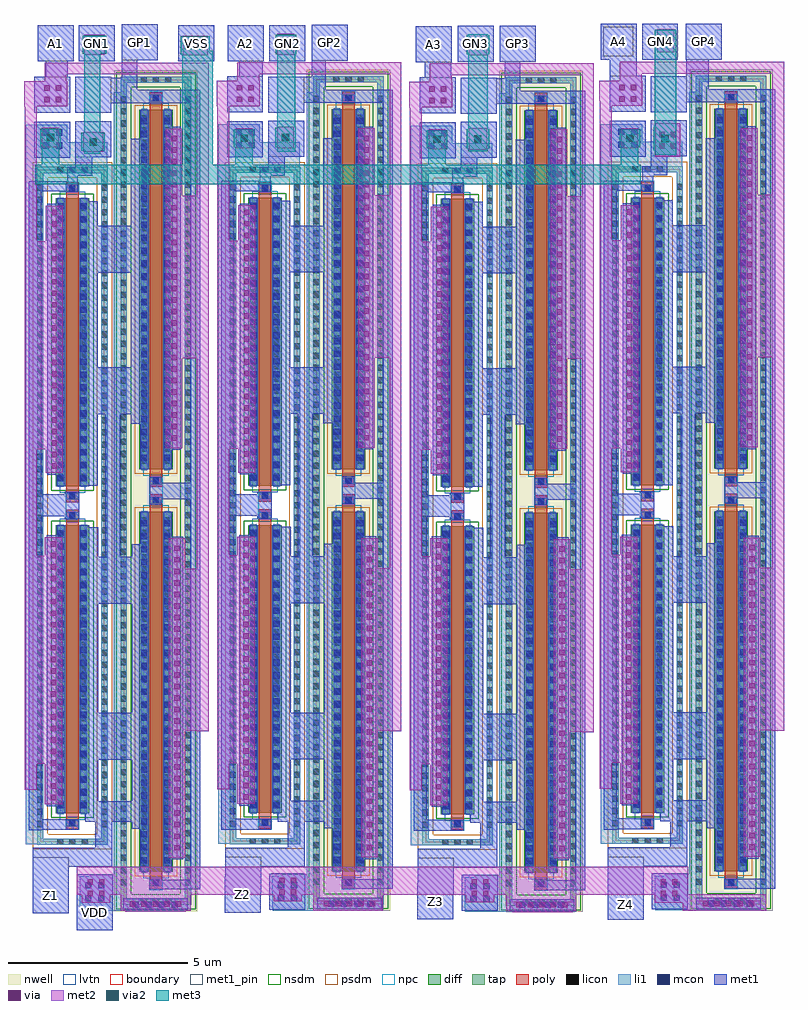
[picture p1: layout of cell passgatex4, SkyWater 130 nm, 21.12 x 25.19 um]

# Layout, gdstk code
from math import pi, radians
import gdstk
lib = gdstk.Library(unit=1e-6, precision=1e-09)
def R(c, l, rs):  # rectangles x0, y0, x1, y1
    for r in rs: c.add(gdstk.rectangle(r[:2], r[2:], *l))
def A(c, l, x, y, w, h, nx, ny, dx, dy):  # array of equal rectangles
    R(c, l, [(x+i*dx, y+j*dy, x+i*dx+w, y+j*dy+h) for i in range(nx) for j in range(ny)])
nwell = (64, 20)
diff = (65, 20)
tap = (65, 44)
poly = (66, 20)
licon = (66, 44)
li1 = (67, 20)
mcon = (67, 44)
met1_pin = (68, 16)
met1 = (68, 20)
via = (68, 44)
met2 = (69, 20)
via2 = (69, 44)
met3 = (70, 20)
nsdm = (93, 44)
psdm = (94, 20)
npc = (95, 20)
lvtn = (125, 44)
boundary = (235, 4)

sky130_fd_pr__pfet_01v8_ = lib.new_cell('sky130_fd_pr__pfet_01v8_lvt_4QFMR3')
R(sky130_fd_pr__pfet_01v8_, nwell, [(-1.155,-11.685,1.155,11.685)])
R(sky130_fd_pr__pfet_01v8_, diff, [(-0.465,-10.59,0.465,-0.59), (-0.465,0.59,0.465,10.59)])
R(sky130_fd_pr__pfet_01v8_, tap, [(-0.975,-11.505,0.975,-11.335), (-0.975,-11.335,-0.805,11.335), (0.805,-11.335,0.975,11.335), (-0.975,11.335,0.975,11.505)])
R(sky130_fd_pr__pfet_01v8_, poly, [(-0.175,-11.075,0.175,-0.105), (-0.175,0.105,0.175,11.075)])
A(sky130_fd_pr__pfet_01v8_, licon, -0.425, -11.505, 0.17, 0.17, 3, 2, 0.34, 22.84)
A(sky130_fd_pr__pfet_01v8_, licon, -0.975, -10.965, 0.17, 0.17, 1, 65, 0, 0.34)
A(sky130_fd_pr__pfet_01v8_, licon, 0.805, -10.965, 0.17, 0.17, 1, 65, 0, 0.34)
A(sky130_fd_pr__pfet_01v8_, licon, -0.405, -10.435, 0.17, 0.17, 1, 29, 0, 0.34)
A(sky130_fd_pr__pfet_01v8_, licon, 0.235, -10.435, 0.17, 0.17, 1, 29, 0, 0.34)
A(sky130_fd_pr__pfet_01v8_, licon, -0.405, 0.745, 0.17, 0.17, 1, 29, 0, 0.34)
A(sky130_fd_pr__pfet_01v8_, licon, 0.235, 0.745, 0.17, 0.17, 1, 29, 0, 0.34)
R(sky130_fd_pr__pfet_01v8_, licon, [(-0.085,-10.995,0.085,-10.825), (-0.085,-0.355,0.085,-0.185), (-0.085,0.185,0.085,0.355), (-0.085,10.825,0.085,10.995)])
R(sky130_fd_pr__pfet_01v8_, li1, [(-0.975,-11.505,0.975,-11.335), (-0.975,-11.335,-0.805,11.335), (0.805,-11.335,0.975,11.335), (-0.175,-10.995,0.175,-10.825), (-0.405,-10.61,-0.235,-0.57), (0.235,-10.61,0.405,-0.57), (-0.175,-0.355,0.175,-0.185), (-0.175,0.185,0.175,0.355), (-0.405,0.57,-0.235,10.61), (0.235,0.57,0.405,10.61), (-0.175,10.825,0.175,10.995), (-0.975,11.335,0.975,11.505)])
A(sky130_fd_pr__pfet_01v8_, mcon, -0.405, -10.355, 0.17, 0.17, 1, 27, 0, 0.36)
A(sky130_fd_pr__pfet_01v8_, mcon, 0.235, -10.355, 0.17, 0.17, 1, 27, 0, 0.36)
A(sky130_fd_pr__pfet_01v8_, mcon, -0.405, 0.825, 0.17, 0.17, 1, 27, 0, 0.36)
A(sky130_fd_pr__pfet_01v8_, mcon, 0.235, 0.825, 0.17, 0.17, 1, 27, 0, 0.36)
R(sky130_fd_pr__pfet_01v8_, mcon, [(-0.085,-10.995,0.085,-10.825), (-0.085,-0.355,0.085,-0.185), (-0.085,0.185,0.085,0.355), (-0.085,10.825,0.085,10.995)])
R(sky130_fd_pr__pfet_01v8_, met1, [(-0.155,-11.025,0.155,-10.795), (-0.435,-10.59,-0.205,-0.59), (0.205,-10.59,0.435,-0.59), (-0.155,-0.385,0.155,-0.155), (-0.155,0.155,0.155,0.385), (-0.435,0.59,-0.205,10.59), (0.205,0.59,0.435,10.59), (-0.155,10.795,0.155,11.025)])
R(sky130_fd_pr__pfet_01v8_, nsdm, [(-1.1,-11.63,1.1,-11.21), (-1.1,-11.21,-0.68,11.21), (0.68,-11.21,1.1,11.21), (-1.1,11.21,1.1,11.63)])
R(sky130_fd_pr__pfet_01v8_, psdm, [(-0.59,-10.715,0.59,-0.465), (-0.59,0.465,0.59,10.715)])
R(sky130_fd_pr__pfet_01v8_, npc, [(-0.185,-11.095,0.185,-10.725), (-0.185,-0.455,0.185,0.455), (-0.185,10.725,0.185,11.095)])
R(sky130_fd_pr__pfet_01v8_, lvtn, [(-0.355,-10.77,0.355,-0.41), (-0.355,0.41,0.355,10.77)])
R(sky130_fd_pr__pfet_01v8_, boundary, [(-0.89,-11.42,0.89,11.42)])

sky130_fd_pr__nfet_01v8_ = lib.new_cell('sky130_fd_pr__nfet_01v8_lvt_PEJ72P')
R(sky130_fd_pr__nfet_01v8_, diff, [(-0.465,-8.545,0.465,-0.545), (-0.465,0.545,0.465,8.545)])
R(sky130_fd_pr__nfet_01v8_, tap, [(-0.975,-9.415,0.975,-9.245), (-0.975,-9.245,-0.805,9.245), (0.805,-9.245,0.975,9.245), (-0.975,9.245,0.975,9.415)])
R(sky130_fd_pr__nfet_01v8_, poly, [(-0.175,-8.985,0.175,-0.105), (-0.175,0.105,0.175,8.985)])
A(sky130_fd_pr__nfet_01v8_, licon, -0.425, -9.415, 0.17, 0.17, 3, 2, 0.34, 18.66)
A(sky130_fd_pr__nfet_01v8_, licon, -0.975, -8.925, 0.17, 0.17, 1, 53, 0, 0.34)
A(sky130_fd_pr__nfet_01v8_, licon, 0.805, -8.925, 0.17, 0.17, 1, 53, 0, 0.34)
A(sky130_fd_pr__nfet_01v8_, licon, -0.405, -8.37, 0.17, 0.17, 1, 23, 0, 0.34)
A(sky130_fd_pr__nfet_01v8_, licon, 0.235, -8.37, 0.17, 0.17, 1, 23, 0, 0.34)
A(sky130_fd_pr__nfet_01v8_, licon, -0.405, 0.72, 0.17, 0.17, 1, 23, 0, 0.34)
A(sky130_fd_pr__nfet_01v8_, licon, 0.235, 0.72, 0.17, 0.17, 1, 23, 0, 0.34)
R(sky130_fd_pr__nfet_01v8_, licon, [(-0.085,-8.905,0.085,-8.735), (-0.085,-0.355,0.085,-0.185), (-0.085,0.185,0.085,0.355), (-0.085,8.735,0.085,8.905)])
R(sky130_fd_pr__nfet_01v8_, li1, [(-0.975,-9.415,0.975,-9.245), (-0.975,-9.245,-0.805,9.245), (0.805,-9.245,0.975,9.245), (-0.175,-8.905,0.175,-8.735), (-0.405,-8.565,-0.235,-0.525), (0.235,-8.565,0.405,-0.525), (-0.175,-0.355,0.175,-0.185), (-0.175,0.185,0.175,0.355), (-0.405,0.525,-0.235,8.565), (0.235,0.525,0.405,8.565), (-0.175,8.735,0.175,8.905), (-0.975,9.245,0.975,9.415)])
A(sky130_fd_pr__nfet_01v8_, mcon, -0.405, -8.41, 0.17, 0.17, 1, 22, 0, 0.36)
A(sky130_fd_pr__nfet_01v8_, mcon, 0.235, -8.41, 0.17, 0.17, 1, 22, 0, 0.36)
A(sky130_fd_pr__nfet_01v8_, mcon, -0.405, 0.68, 0.17, 0.17, 1, 22, 0, 0.36)
A(sky130_fd_pr__nfet_01v8_, mcon, 0.235, 0.68, 0.17, 0.17, 1, 22, 0, 0.36)
R(sky130_fd_pr__nfet_01v8_, mcon, [(-0.085,-8.905,0.085,-8.735), (-0.085,-0.355,0.085,-0.185), (-0.085,0.185,0.085,0.355), (-0.085,8.735,0.085,8.905)])
R(sky130_fd_pr__nfet_01v8_, met1, [(-0.155,-8.935,0.155,-8.705), (-0.435,-8.545,-0.205,-0.545), (0.205,-8.545,0.435,-0.545), (-0.155,-0.385,0.155,-0.155), (-0.155,0.155,0.155,0.385), (-0.435,0.545,-0.205,8.545), (0.205,0.545,0.435,8.545), (-0.155,8.705,0.155,8.935)])
R(sky130_fd_pr__nfet_01v8_, nsdm, [(-0.59,-8.67,0.59,-0.42), (-0.59,0.42,0.59,8.67)])
R(sky130_fd_pr__nfet_01v8_, psdm, [(-1.1,-9.54,1.1,-9.12), (-1.1,-9.12,-0.68,9.12), (0.68,-9.12,1.1,9.12), (-1.1,9.12,1.1,9.54)])
R(sky130_fd_pr__nfet_01v8_, npc, [(-0.185,-9.005,0.185,-8.635), (-0.185,-0.455,0.185,0.455), (-0.185,8.635,0.185,9.005)])
R(sky130_fd_pr__nfet_01v8_, lvtn, [(-0.355,-8.725,0.355,-0.365), (-0.355,0.365,0.355,8.725)])
R(sky130_fd_pr__nfet_01v8_, boundary, [(-0.89,-9.33,0.89,9.33)])

passgate = lib.new_cell('passgate')
R(passgate, li1, [(18.51,-4.4,38.5,-3.96), (18.51,-3.96,19.85,-3.25), (19,-3.25,19.85,-2.14), (39.39,-2.9,40.25,-2.89), (39.39,-2.89,40.35,-2.63), (39.34,-2.63,40.35,-1.95), (17.61,-1.95,40.35,-1.6), (39.34,-1.6,40.35,-1.59), (40.01,-1.59,40.35,0.18)])
R(passgate, mcon, [(18.64,-3.92,18.81,-3.75), (19,-3.92,19.17,-3.75), (18.64,-3.56,18.81,-3.39), (19,-3.56,19.17,-3.39), (39.555,-2.745,39.725,-2.575), (39.915,-2.745,40.085,-2.575), (39.555,-2.385,39.725,-2.215), (39.915,-2.385,40.085,-2.215)])
R(passgate, met1_pin, [(38.86,-4.21,39.86,-3.21), (17.17,-4.16,18.17,-3.16), (18.42,-4.16,19.42,-3.16), (17.18,-3.02,18.18,-2.02), (18.41,-3.02,19.41,-2.02), (39.33,-2.99,40.33,-1.99)])
R(passgate, met1, [(20.08,-4.32,38.11,-3.96), (38.6,-4.21,39.86,-3.21), (17.17,-4.16,18.17,-3.16), (18.42,-4.16,19.42,-3.16), (20.08,-3.96,20.36,-3.25), (28.78,-3.96,29.38,-3.32), (37.8,-3.96,38.1,-2.93), (29.92,-3.82,37.44,-3.44), (20.71,-3.8,28.23,-3.42), (29.93,-3.44,37.35,-3.34), (20.76,-3.42,28.18,-3.33), (28.71,-3.32,29.45,-2.92), (19.68,-3.25,20.39,-3.02), (38.6,-3.21,39.13,-2.47), (17.18,-3.02,18.18,-2.02), (18.41,-3.02,20.39,-2.95), (39.33,-2.99,40.33,-1.99), (18.41,-2.95,19.93,-2.56), (20.63,-2.86,28.54,-2.4), (29.69,-2.85,37.6,-2.75), (29.69,-2.75,37.88,-2.47), (18.41,-2.56,19.41,-2.02), (29.69,-2.47,39.13,-2.39), (21.32,-2.4,22.62,-1.49), (25.25,-2.4,26.55,-2.19), (30.51,-2.39,31.81,-2.19), (34.85,-2.39,36.15,-1.46), (37.3,-2.39,39.13,-2), (25.25,-2.19,31.81,-1.78), (17.54,-2.02,17.91,0.17), (37.3,-2,37.88,-1.46), (25.25,-1.78,26.55,-1.49), (30.51,-1.78,31.81,-1.46), (18.9,-1.49,26.81,-1.03), (30.16,-1.46,38.07,-1), (39.48,-0.97,39.75,0.17), (28.31,-0.96,29.04,-0.63), (28.46,-0.63,28.91,0.17), (18.62,-0.56,27.49,-0.46), (29.98,-0.53,38.85,-0.38), (18.57,-0.46,27.54,-0.1), (29.95,-0.38,38.92,-0.02), (17.54,0.17,39.75,0.44)])
A(passgate, via, 30.085, -3.705, 0.15, 0.15, 23, 1, 0.32, 0)
A(passgate, via, 20.875, -3.685, 0.15, 0.15, 23, 1, 0.32, 0)
A(passgate, via, 18.82, -0.355, 0.15, 0.15, 27, 1, 0.32, 0)
A(passgate, via, 30.2, -0.275, 0.15, 0.15, 27, 1, 0.32, 0)
R(passgate, via, [(17.415,-3.89,17.565,-3.74), (17.735,-3.89,17.885,-3.74), (17.415,-3.57,17.565,-3.42), (17.735,-3.57,17.885,-3.42)])
R(passgate, met2, [(17.3,-4.45,17.85,-4.44), (17.3,-4.44,18,-4.43), (17.3,-4.43,36.98,-4.1), (17.3,-4.1,18,-3.88), (21.74,-4.1,27.52,-3.85), (30.48,-4.1,36.26,-3.87), (16.79,-3.88,18,-3.86), (29.97,-3.87,37.39,-3.39), (16.78,-3.86,18,-3.27), (20.76,-3.85,28.18,-3.37), (16.78,-3.27,17.11,0.355), (17.3,-3.27,18,-3.25), (18.62,-0.51,27.49,-0.05), (30,-0.43,38.87,0.03), (20.48,-0.05,24.99,0.355), (30.84,0.03,35.35,0.355), (16.78,0.355,35.365,0.685)])
passgate.add(gdstk.Reference(sky130_fd_pr__pfet_01v8_, (28.675,-0.785), rotation=pi/2))
passgate.add(gdstk.Reference(sky130_fd_pr__nfet_01v8_, (29.095,-3.105), rotation=pi/2))
passgate.add(gdstk.Label('A', (17.67,-3.66), layer=68, texttype=5))
passgate.add(gdstk.Label('GN', (18.91,-2.52), layer=68, texttype=5))
passgate.add(gdstk.Label('GP', (17.68,-2.52), layer=68, texttype=5))
passgate.add(gdstk.Label('Z', (39.36,-3.71), layer=68, texttype=5))
passgate.add(gdstk.Label('VDD', (39.83,-2.49), layer=68, texttype=5))
passgate.add(gdstk.Label('VSS', (18.92,-3.66), layer=68, texttype=5))

passgatex4 = lib.new_cell('passgatex4')
R(passgatex4, li1, [(59.81,-1.18,61.15,-0.95), (70.54,-1.18,71.88,-0.95), (65.24,-1.16,66.58,-0.93), (75.78,-1.15,77.12,-0.92)])
A(passgatex4, mcon, 59.855, -1.15, 0.17, 0.17, 4, 1, 0.36, 0)
A(passgatex4, mcon, 70.585, -1.15, 0.17, 0.17, 4, 1, 0.36, 0)
A(passgatex4, mcon, 65.285, -1.13, 0.17, 0.17, 4, 1, 0.36, 0)
A(passgatex4, mcon, 75.825, -1.12, 0.17, 0.17, 4, 1, 0.36, 0)
R(passgatex4, met1_pin, [(58.29,-1.78,59.29,-0.78), (73.05,-1.48,74.05,-0.65), (67.76,-1.47,68.76,-0.47), (57.07,-1.31,58.07,-0.31), (62.41,-1.29,63.41,-0.29), (67.71,22.34,68.71,23.34), (68.88,22.35,69.88,23.35), (70.05,22.35,71.05,23.35), (62.49,22.36,63.49,23.36), (57.21,22.37,58.21,23.37), (58.35,22.37,59.35,23.37), (61.12,22.37,62.12,23.37), (63.65,22.37,64.65,23.37), (64.82,22.38,65.82,23.38), (59.54,22.39,60.54,23.39), (74,22.41,75,23.41), (75.22,22.41,76.22,23.41), (72.93,22.51,73.76,23.32)])
R(passgatex4, met1, [(58.29,-1.78,59.29,-0.78), (73.05,-1.48,74.05,-0.65), (67.76,-1.47,68.76,-0.47), (57.07,-1.31,58.07,-0.31), (62.41,-1.29,63.41,-0.29), (70.33,-1.23,72.12,-0.91), (59.59,-1.21,61.38,-0.89), (64.98,-1.19,66.77,-0.87), (75.51,-1.19,77.3,-0.87), (74.31,-0.96,75.19,-0.24), (69.06,-0.95,69.94,-0.23), (63.72,-0.92,64.6,-0.2), (58.39,-0.78,59.27,-0.24), (74.32,19.76,75.11,20.59), (58.42,19.9,59.08,20.35), (69.13,19.96,69.75,20.45), (68.02,19.97,68.59,20.42), (62.66,20,63.23,20.45), (63.81,20,64.38,20.49), (73.38,20,73.95,20.45), (57.28,20.02,57.85,20.47), (73.1,20.97,73.86,22.41), (67.97,21.07,68.7,22.34), (62.81,21.1,63.47,22.36), (57.44,21.11,58.05,22.37), (70.18,21.19,70.62,21.27), (59.55,21.23,59.98,21.57), (64.82,21.23,65.21,21.55), (75.23,21.23,75.85,22.41), (69.78,21.27,70.62,21.9), (64.5,21.55,65.21,21.94), (59.12,21.57,59.98,21.91), (70.18,21.9,70.62,22.35), (59.55,21.91,59.98,22.39), (64.82,21.94,65.21,22.38), (67.71,22.34,68.71,23.34), (68.88,22.35,69.88,23.35), (70.05,22.35,71.05,23.35), (62.49,22.36,63.49,23.36), (57.21,22.37,58.21,23.37), (58.35,22.37,59.35,23.37), (61.12,22.37,62.12,23.37), (63.65,22.37,64.65,23.37), (64.82,22.38,65.82,23.38), (59.54,22.39,60.54,23.39), (72.86,22.41,73.86,23.41), (74,22.41,75,23.41), (75.22,22.41,76.22,23.41)])
A(passgatex4, via, 70.51, -1.145, 0.15, 0.15, 5, 1, 0.32, 0)
A(passgatex4, via, 59.77, -1.125, 0.15, 0.15, 5, 1, 0.32, 0)
A(passgatex4, via, 65.16, -1.105, 0.15, 0.15, 5, 1, 0.32, 0)
A(passgatex4, via, 75.69, -1.105, 0.15, 0.15, 5, 1, 0.32, 0)
R(passgatex4, via, [(58.595,-0.835,58.745,-0.685), (58.915,-0.835,59.065,-0.685), (74.515,-0.835,74.665,-0.685), (74.835,-0.835,74.985,-0.685), (69.265,-0.825,69.415,-0.675), (69.585,-0.825,69.735,-0.675), (63.925,-0.795,64.075,-0.645), (64.245,-0.795,64.395,-0.645), (58.595,-0.515,58.745,-0.365), (58.915,-0.515,59.065,-0.365), (74.515,-0.515,74.665,-0.365), (74.835,-0.515,74.985,-0.365), (69.265,-0.505,69.415,-0.355), (69.585,-0.505,69.735,-0.355), (63.925,-0.475,64.075,-0.325), (64.245,-0.475,64.395,-0.325), (74.48,19.94,74.63,20.09), (74.8,19.94,74.95,20.09), (58.675,20.05,58.825,20.2), (68.23,20.12,68.38,20.27), (69.365,20.13,69.515,20.28), (62.87,20.15,63.02,20.3), (73.59,20.15,73.74,20.3), (57.49,20.17,57.64,20.32), (64.02,20.17,64.17,20.32), (74.48,20.26,74.63,20.41), (74.8,20.26,74.95,20.41), (61.355,22.73,61.505,22.88), (61.675,22.73,61.825,22.88), (58.715,22.75,58.865,22.9), (69.365,22.75,69.515,22.9), (64.03,22.76,64.18,22.91), (74.58,22.86,74.73,23.01)])
R(passgatex4, met2, [(70.38,-1.28,72.07,-1.25), (59.64,-1.26,61.33,-1.23), (70.23,-1.25,72.17,-0.79), (65.03,-1.24,66.72,-1.23), (75.56,-1.24,77.25,-1.23), (59.52,-1.23,61.46,-0.79), (64.86,-1.23,66.8,-0.79), (75.13,-1.23,77.45,-1.01), (58.44,-1.01,59.22,-0.79), (74.36,-1.01,77.45,-0.79), (69.11,-1,69.89,-0.79), (63.77,-0.97,64.55,-0.79), (58.29,-0.79,77.45,-0.78), (58.29,-0.78,75.29,-0.04), (58.29,-0.04,75.28,-0.01), (74.37,19.71,75.06,20.64), (58.47,19.85,59.03,20.4), (69.18,19.91,69.7,20.5), (68.07,19.92,68.54,20.47), (62.71,19.95,63.18,20.5), (63.86,19.95,64.33,20.54), (73.43,19.95,73.9,20.5), (57.33,19.97,57.8,20.52), (61.24,22.53,61.94,23.08), (69.18,22.53,69.7,23.12), (63.87,22.54,64.34,23.13), (58.51,22.55,59.07,23.1), (74.42,22.61,74.89,23.26)])
R(passgatex4, via2, [(58.65,20.025,58.85,20.225), (68.205,20.095,68.405,20.295), (69.34,20.105,69.54,20.305), (74.54,20.12,74.74,20.32), (62.845,20.125,63.045,20.325), (73.565,20.125,73.765,20.325), (57.465,20.145,57.665,20.345), (63.995,20.145,64.195,20.345), (61.29,22.705,61.49,22.905), (61.69,22.705,61.89,22.905), (58.69,22.725,58.89,22.925), (69.34,22.725,69.54,22.925), (64.005,22.735,64.205,22.935), (74.555,22.835,74.755,23.035)])
R(passgatex4, met3, [(57.14,18.95,73.97,19.49), (57.32,19.49,57.81,19.995), (61.22,19.49,62.07,22.555), (62.7,19.49,63.19,19.975), (68.06,19.49,68.55,19.945), (73.41,19.49,73.9,19.975), (74.35,19.77,74.95,19.895), (58.5,19.79,58.95,19.875), (63.86,19.85,64.36,19.975), (69.17,19.87,69.71,19.935), (58.42,19.875,59.08,20.375), (74.33,19.895,74.95,20.545), (69.13,19.935,69.75,20.475), (68.02,19.945,68.59,20.445), (62.66,19.975,63.23,20.475), (63.81,19.975,64.38,20.515), (73.38,19.975,73.95,20.475), (57.28,19.995,57.85,20.495), (58.5,20.375,58.95,22.575), (68.06,20.445,68.55,20.45), (69.17,20.475,69.71,22.555), (63.86,20.515,64.36,22.565), (74.35,20.545,74.95,23.22), (61.19,22.555,62.07,22.66), (69.13,22.555,69.75,23.095), (63.82,22.565,64.39,23.105), (58.46,22.575,59.12,23.075), (61.19,22.66,61.99,23.055), (69.17,23.095,69.71,23.11), (74.37,23.22,74.94,23.235)])
passgatex4.add(gdstk.Reference(passgate, (77.26,39.13), rotation=3*pi/2))
passgatex4.add(gdstk.Reference(passgate, (71.98,39.09), rotation=3*pi/2))
passgatex4.add(gdstk.Reference(passgate, (66.63,39.12), rotation=3*pi/2))
passgatex4.add(gdstk.Reference(passgate, (61.28,39.11), rotation=3*pi/2))
passgatex4.add(gdstk.Label('A1', (57.71,22.87), layer=68, texttype=5))
passgatex4.add(gdstk.Label('GN1', (58.85,22.87), layer=68, texttype=5))
passgatex4.add(gdstk.Label('GP1', (60.04,22.89), layer=68, texttype=5))
passgatex4.add(gdstk.Label('Z1', (57.57,-0.81), layer=68, texttype=5))
passgatex4.add(gdstk.Label('A2', (62.99,22.86), layer=68, texttype=5))
passgatex4.add(gdstk.Label('GN2', (64.15,22.87), layer=68, texttype=5))
passgatex4.add(gdstk.Label('GP2', (65.32,22.88), layer=68, texttype=5))
passgatex4.add(gdstk.Label('Z2', (62.91,-0.79), layer=68, texttype=5))
passgatex4.add(gdstk.Label('A3', (68.21,22.84), layer=68, texttype=5))
passgatex4.add(gdstk.Label('GN3', (69.38,22.85), layer=68, texttype=5))
passgatex4.add(gdstk.Label('GP3', (70.55,22.85), layer=68, texttype=5))
passgatex4.add(gdstk.Label('Z3', (68.26,-0.97), layer=68, texttype=5))
passgatex4.add(gdstk.Label('A4', (73.345,22.915), layer=68, texttype=5))
passgatex4.add(gdstk.Label('GN4', (74.5,22.91), layer=68, texttype=5))
passgatex4.add(gdstk.Label('GP4', (75.72,22.91), layer=68, texttype=5))
passgatex4.add(gdstk.Label('Z4', (73.55,-1.065), layer=68, texttype=5))
passgatex4.add(gdstk.Label('VDD', (58.79,-1.28), layer=68, texttype=5))
passgatex4.add(gdstk.Label('VSS', (61.62,22.87), layer=68, texttype=5))

lib.write_gds('passgatex4.gds')
